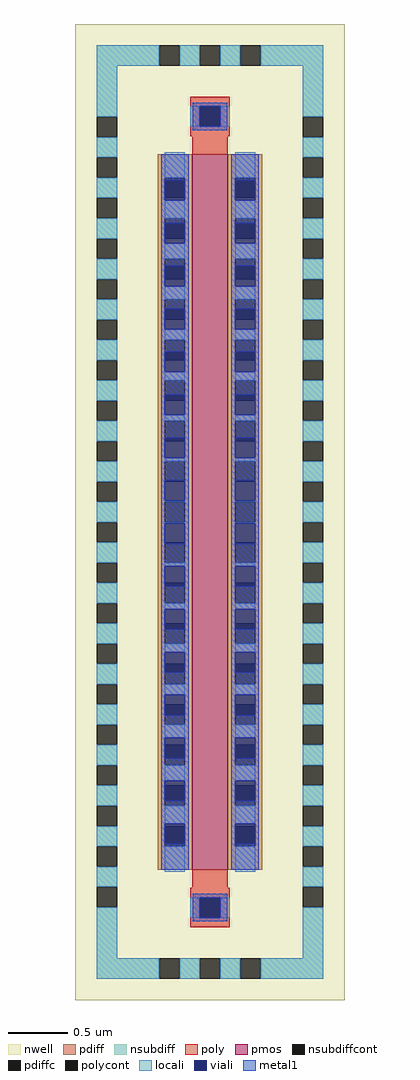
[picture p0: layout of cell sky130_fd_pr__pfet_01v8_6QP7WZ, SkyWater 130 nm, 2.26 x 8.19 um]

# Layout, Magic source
magic
tech sky130A
magscale 1 2
<< nwell >>
rect -226 -819 226 819
<< pmos >>
rect -30 -600 30 600
<< pdiff >>
rect -88 561 -30 600
rect -88 527 -76 561
rect -42 527 -30 561
rect -88 493 -30 527
rect -88 459 -76 493
rect -42 459 -30 493
rect -88 425 -30 459
rect -88 391 -76 425
rect -42 391 -30 425
rect -88 357 -30 391
rect -88 323 -76 357
rect -42 323 -30 357
rect -88 289 -30 323
rect -88 255 -76 289
rect -42 255 -30 289
rect -88 221 -30 255
rect -88 187 -76 221
rect -42 187 -30 221
rect -88 153 -30 187
rect -88 119 -76 153
rect -42 119 -30 153
rect -88 85 -30 119
rect -88 51 -76 85
rect -42 51 -30 85
rect -88 17 -30 51
rect -88 -17 -76 17
rect -42 -17 -30 17
rect -88 -51 -30 -17
rect -88 -85 -76 -51
rect -42 -85 -30 -51
rect -88 -119 -30 -85
rect -88 -153 -76 -119
rect -42 -153 -30 -119
rect -88 -187 -30 -153
rect -88 -221 -76 -187
rect -42 -221 -30 -187
rect -88 -255 -30 -221
rect -88 -289 -76 -255
rect -42 -289 -30 -255
rect -88 -323 -30 -289
rect -88 -357 -76 -323
rect -42 -357 -30 -323
rect -88 -391 -30 -357
rect -88 -425 -76 -391
rect -42 -425 -30 -391
rect -88 -459 -30 -425
rect -88 -493 -76 -459
rect -42 -493 -30 -459
rect -88 -527 -30 -493
rect -88 -561 -76 -527
rect -42 -561 -30 -527
rect -88 -600 -30 -561
rect 30 561 88 600
rect 30 527 42 561
rect 76 527 88 561
rect 30 493 88 527
rect 30 459 42 493
rect 76 459 88 493
rect 30 425 88 459
rect 30 391 42 425
rect 76 391 88 425
rect 30 357 88 391
rect 30 323 42 357
rect 76 323 88 357
rect 30 289 88 323
rect 30 255 42 289
rect 76 255 88 289
rect 30 221 88 255
rect 30 187 42 221
rect 76 187 88 221
rect 30 153 88 187
rect 30 119 42 153
rect 76 119 88 153
rect 30 85 88 119
rect 30 51 42 85
rect 76 51 88 85
rect 30 17 88 51
rect 30 -17 42 17
rect 76 -17 88 17
rect 30 -51 88 -17
rect 30 -85 42 -51
rect 76 -85 88 -51
rect 30 -119 88 -85
rect 30 -153 42 -119
rect 76 -153 88 -119
rect 30 -187 88 -153
rect 30 -221 42 -187
rect 76 -221 88 -187
rect 30 -255 88 -221
rect 30 -289 42 -255
rect 76 -289 88 -255
rect 30 -323 88 -289
rect 30 -357 42 -323
rect 76 -357 88 -323
rect 30 -391 88 -357
rect 30 -425 42 -391
rect 76 -425 88 -391
rect 30 -459 88 -425
rect 30 -493 42 -459
rect 76 -493 88 -459
rect 30 -527 88 -493
rect 30 -561 42 -527
rect 76 -561 88 -527
rect 30 -600 88 -561
<< pdiffc >>
rect -76 527 -42 561
rect -76 459 -42 493
rect -76 391 -42 425
rect -76 323 -42 357
rect -76 255 -42 289
rect -76 187 -42 221
rect -76 119 -42 153
rect -76 51 -42 85
rect -76 -17 -42 17
rect -76 -85 -42 -51
rect -76 -153 -42 -119
rect -76 -221 -42 -187
rect -76 -289 -42 -255
rect -76 -357 -42 -323
rect -76 -425 -42 -391
rect -76 -493 -42 -459
rect -76 -561 -42 -527
rect 42 527 76 561
rect 42 459 76 493
rect 42 391 76 425
rect 42 323 76 357
rect 42 255 76 289
rect 42 187 76 221
rect 42 119 76 153
rect 42 51 76 85
rect 42 -17 76 17
rect 42 -85 76 -51
rect 42 -153 76 -119
rect 42 -221 76 -187
rect 42 -289 76 -255
rect 42 -357 76 -323
rect 42 -425 76 -391
rect 42 -493 76 -459
rect 42 -561 76 -527
<< nsubdiff >>
rect -190 749 -85 783
rect -51 749 -17 783
rect 17 749 51 783
rect 85 749 190 783
rect -190 663 -156 749
rect 156 663 190 749
rect -190 595 -156 629
rect -190 527 -156 561
rect -190 459 -156 493
rect -190 391 -156 425
rect -190 323 -156 357
rect -190 255 -156 289
rect -190 187 -156 221
rect -190 119 -156 153
rect -190 51 -156 85
rect -190 -17 -156 17
rect -190 -85 -156 -51
rect -190 -153 -156 -119
rect -190 -221 -156 -187
rect -190 -289 -156 -255
rect -190 -357 -156 -323
rect -190 -425 -156 -391
rect -190 -493 -156 -459
rect -190 -561 -156 -527
rect -190 -629 -156 -595
rect 156 595 190 629
rect 156 527 190 561
rect 156 459 190 493
rect 156 391 190 425
rect 156 323 190 357
rect 156 255 190 289
rect 156 187 190 221
rect 156 119 190 153
rect 156 51 190 85
rect 156 -17 190 17
rect 156 -85 190 -51
rect 156 -153 190 -119
rect 156 -221 190 -187
rect 156 -289 190 -255
rect 156 -357 190 -323
rect 156 -425 190 -391
rect 156 -493 190 -459
rect 156 -561 190 -527
rect 156 -629 190 -595
rect -190 -749 -156 -663
rect 156 -749 190 -663
rect -190 -783 -85 -749
rect -51 -783 -17 -749
rect 17 -783 51 -749
rect 85 -783 190 -749
<< nsubdiffcont >>
rect -85 749 -51 783
rect -17 749 17 783
rect 51 749 85 783
rect -190 629 -156 663
rect 156 629 190 663
rect -190 561 -156 595
rect -190 493 -156 527
rect -190 425 -156 459
rect -190 357 -156 391
rect -190 289 -156 323
rect -190 221 -156 255
rect -190 153 -156 187
rect -190 85 -156 119
rect -190 17 -156 51
rect -190 -51 -156 -17
rect -190 -119 -156 -85
rect -190 -187 -156 -153
rect -190 -255 -156 -221
rect -190 -323 -156 -289
rect -190 -391 -156 -357
rect -190 -459 -156 -425
rect -190 -527 -156 -493
rect -190 -595 -156 -561
rect 156 561 190 595
rect 156 493 190 527
rect 156 425 190 459
rect 156 357 190 391
rect 156 289 190 323
rect 156 221 190 255
rect 156 153 190 187
rect 156 85 190 119
rect 156 17 190 51
rect 156 -51 190 -17
rect 156 -119 190 -85
rect 156 -187 190 -153
rect 156 -255 190 -221
rect 156 -323 190 -289
rect 156 -391 190 -357
rect 156 -459 190 -425
rect 156 -527 190 -493
rect 156 -595 190 -561
rect -190 -663 -156 -629
rect 156 -663 190 -629
rect -85 -783 -51 -749
rect -17 -783 17 -749
rect 51 -783 85 -749
<< poly >>
rect -33 681 33 697
rect -33 647 -17 681
rect 17 647 33 681
rect -33 631 33 647
rect -30 600 30 631
rect -30 -631 30 -600
rect -33 -647 33 -631
rect -33 -681 -17 -647
rect 17 -681 33 -647
rect -33 -697 33 -681
<< polycont >>
rect -17 647 17 681
rect -17 -681 17 -647
<< locali >>
rect -190 749 -85 783
rect -51 749 -17 783
rect 17 749 51 783
rect 85 749 190 783
rect -190 663 -156 749
rect -33 647 -17 681
rect 17 647 33 681
rect 156 663 190 749
rect -190 595 -156 629
rect -190 527 -156 561
rect -190 459 -156 493
rect -190 391 -156 425
rect -190 323 -156 357
rect -190 255 -156 289
rect -190 187 -156 221
rect -190 119 -156 153
rect -190 51 -156 85
rect -190 -17 -156 17
rect -190 -85 -156 -51
rect -190 -153 -156 -119
rect -190 -221 -156 -187
rect -190 -289 -156 -255
rect -190 -357 -156 -323
rect -190 -425 -156 -391
rect -190 -493 -156 -459
rect -190 -561 -156 -527
rect -190 -629 -156 -595
rect -76 561 -42 604
rect -76 493 -42 523
rect -76 425 -42 451
rect -76 357 -42 379
rect -76 289 -42 307
rect -76 221 -42 235
rect -76 153 -42 163
rect -76 85 -42 91
rect -76 17 -42 19
rect -76 -19 -42 -17
rect -76 -91 -42 -85
rect -76 -163 -42 -153
rect -76 -235 -42 -221
rect -76 -307 -42 -289
rect -76 -379 -42 -357
rect -76 -451 -42 -425
rect -76 -523 -42 -493
rect -76 -604 -42 -561
rect 42 561 76 604
rect 42 493 76 523
rect 42 425 76 451
rect 42 357 76 379
rect 42 289 76 307
rect 42 221 76 235
rect 42 153 76 163
rect 42 85 76 91
rect 42 17 76 19
rect 42 -19 76 -17
rect 42 -91 76 -85
rect 42 -163 76 -153
rect 42 -235 76 -221
rect 42 -307 76 -289
rect 42 -379 76 -357
rect 42 -451 76 -425
rect 42 -523 76 -493
rect 42 -604 76 -561
rect 156 595 190 629
rect 156 527 190 561
rect 156 459 190 493
rect 156 391 190 425
rect 156 323 190 357
rect 156 255 190 289
rect 156 187 190 221
rect 156 119 190 153
rect 156 51 190 85
rect 156 -17 190 17
rect 156 -85 190 -51
rect 156 -153 190 -119
rect 156 -221 190 -187
rect 156 -289 190 -255
rect 156 -357 190 -323
rect 156 -425 190 -391
rect 156 -493 190 -459
rect 156 -561 190 -527
rect 156 -629 190 -595
rect -190 -749 -156 -663
rect -33 -681 -17 -647
rect 17 -681 33 -647
rect 156 -749 190 -663
rect -190 -783 -85 -749
rect -51 -783 -17 -749
rect 17 -783 51 -749
rect 85 -783 190 -749
<< viali >>
rect -17 647 17 681
rect -76 527 -42 557
rect -76 523 -42 527
rect -76 459 -42 485
rect -76 451 -42 459
rect -76 391 -42 413
rect -76 379 -42 391
rect -76 323 -42 341
rect -76 307 -42 323
rect -76 255 -42 269
rect -76 235 -42 255
rect -76 187 -42 197
rect -76 163 -42 187
rect -76 119 -42 125
rect -76 91 -42 119
rect -76 51 -42 53
rect -76 19 -42 51
rect -76 -51 -42 -19
rect -76 -53 -42 -51
rect -76 -119 -42 -91
rect -76 -125 -42 -119
rect -76 -187 -42 -163
rect -76 -197 -42 -187
rect -76 -255 -42 -235
rect -76 -269 -42 -255
rect -76 -323 -42 -307
rect -76 -341 -42 -323
rect -76 -391 -42 -379
rect -76 -413 -42 -391
rect -76 -459 -42 -451
rect -76 -485 -42 -459
rect -76 -527 -42 -523
rect -76 -557 -42 -527
rect 42 527 76 557
rect 42 523 76 527
rect 42 459 76 485
rect 42 451 76 459
rect 42 391 76 413
rect 42 379 76 391
rect 42 323 76 341
rect 42 307 76 323
rect 42 255 76 269
rect 42 235 76 255
rect 42 187 76 197
rect 42 163 76 187
rect 42 119 76 125
rect 42 91 76 119
rect 42 51 76 53
rect 42 19 76 51
rect 42 -51 76 -19
rect 42 -53 76 -51
rect 42 -119 76 -91
rect 42 -125 76 -119
rect 42 -187 76 -163
rect 42 -197 76 -187
rect 42 -255 76 -235
rect 42 -269 76 -255
rect 42 -323 76 -307
rect 42 -341 76 -323
rect 42 -391 76 -379
rect 42 -413 76 -391
rect 42 -459 76 -451
rect 42 -485 76 -459
rect 42 -527 76 -523
rect 42 -557 76 -527
rect -17 -681 17 -647
<< metal1 >>
rect -29 681 29 687
rect -29 647 -17 681
rect 17 647 29 681
rect -29 641 29 647
rect -82 557 -36 600
rect -82 523 -76 557
rect -42 523 -36 557
rect -82 485 -36 523
rect -82 451 -76 485
rect -42 451 -36 485
rect -82 413 -36 451
rect -82 379 -76 413
rect -42 379 -36 413
rect -82 341 -36 379
rect -82 307 -76 341
rect -42 307 -36 341
rect -82 269 -36 307
rect -82 235 -76 269
rect -42 235 -36 269
rect -82 197 -36 235
rect -82 163 -76 197
rect -42 163 -36 197
rect -82 125 -36 163
rect -82 91 -76 125
rect -42 91 -36 125
rect -82 53 -36 91
rect -82 19 -76 53
rect -42 19 -36 53
rect -82 -19 -36 19
rect -82 -53 -76 -19
rect -42 -53 -36 -19
rect -82 -91 -36 -53
rect -82 -125 -76 -91
rect -42 -125 -36 -91
rect -82 -163 -36 -125
rect -82 -197 -76 -163
rect -42 -197 -36 -163
rect -82 -235 -36 -197
rect -82 -269 -76 -235
rect -42 -269 -36 -235
rect -82 -307 -36 -269
rect -82 -341 -76 -307
rect -42 -341 -36 -307
rect -82 -379 -36 -341
rect -82 -413 -76 -379
rect -42 -413 -36 -379
rect -82 -451 -36 -413
rect -82 -485 -76 -451
rect -42 -485 -36 -451
rect -82 -523 -36 -485
rect -82 -557 -76 -523
rect -42 -557 -36 -523
rect -82 -600 -36 -557
rect 36 557 82 600
rect 36 523 42 557
rect 76 523 82 557
rect 36 485 82 523
rect 36 451 42 485
rect 76 451 82 485
rect 36 413 82 451
rect 36 379 42 413
rect 76 379 82 413
rect 36 341 82 379
rect 36 307 42 341
rect 76 307 82 341
rect 36 269 82 307
rect 36 235 42 269
rect 76 235 82 269
rect 36 197 82 235
rect 36 163 42 197
rect 76 163 82 197
rect 36 125 82 163
rect 36 91 42 125
rect 76 91 82 125
rect 36 53 82 91
rect 36 19 42 53
rect 76 19 82 53
rect 36 -19 82 19
rect 36 -53 42 -19
rect 76 -53 82 -19
rect 36 -91 82 -53
rect 36 -125 42 -91
rect 76 -125 82 -91
rect 36 -163 82 -125
rect 36 -197 42 -163
rect 76 -197 82 -163
rect 36 -235 82 -197
rect 36 -269 42 -235
rect 76 -269 82 -235
rect 36 -307 82 -269
rect 36 -341 42 -307
rect 76 -341 82 -307
rect 36 -379 82 -341
rect 36 -413 42 -379
rect 76 -413 82 -379
rect 36 -451 82 -413
rect 36 -485 42 -451
rect 76 -485 82 -451
rect 36 -523 82 -485
rect 36 -557 42 -523
rect 76 -557 82 -523
rect 36 -600 82 -557
rect -29 -647 29 -641
rect -29 -681 -17 -647
rect 17 -681 29 -647
rect -29 -687 29 -681
<< properties >>
string FIXED_BBOX -173 -766 173 766
<< end >>
